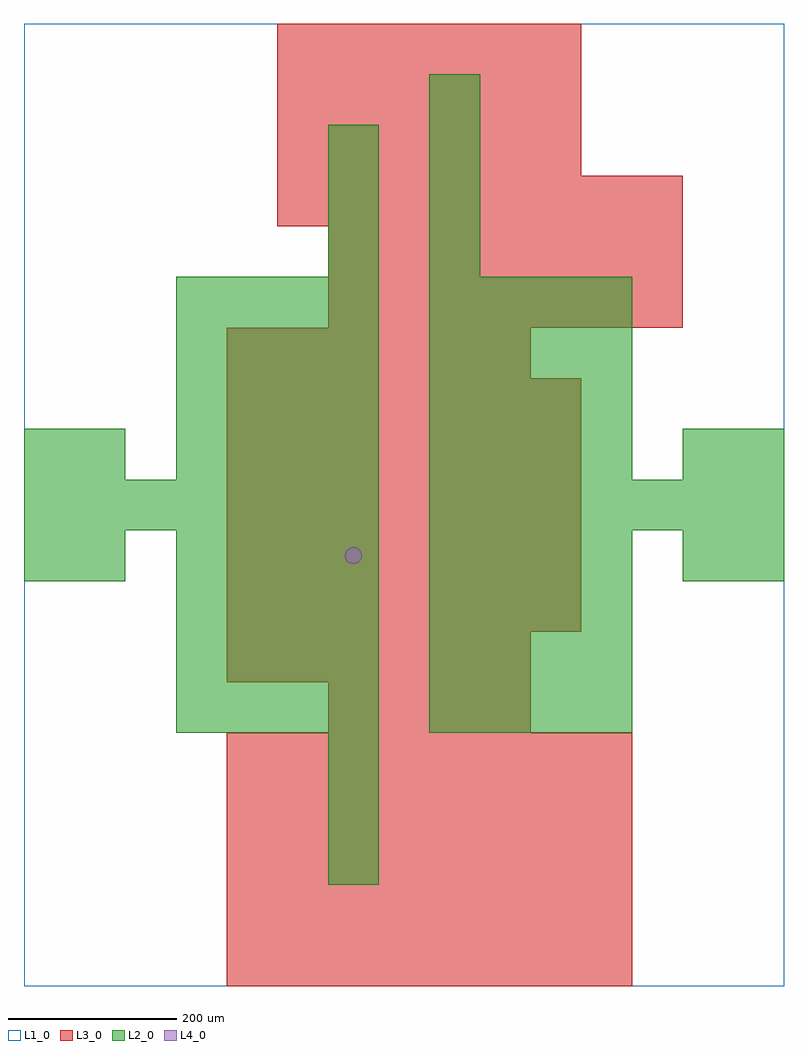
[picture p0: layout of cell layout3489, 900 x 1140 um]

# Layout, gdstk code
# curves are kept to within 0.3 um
import gdstk
lib = gdstk.Library(unit=1e-6, precision=1e-09)
def R(c, l, rs):  # rectangles x0, y0, x1, y1
    for r in rs: c.add(gdstk.rectangle(r[:2], r[2:], *l))
def A(c, l, x, y, w, h, nx, ny, dx, dy):  # array of equal rectangles
    R(c, l, [(x+i*dx, y+j*dy, x+i*dx+w, y+j*dy+h) for i in range(nx) for j in range(ny)])
def P(c, l, *ps):  # polygons
    for p in ps: c.add(gdstk.Polygon(p, *l))
L1_0 = (1, 0)
L2_0 = (2, 0)
L3_0 = (3, 0)
L4_0 = (4, 0)

layout3489 = lib.new_cell('layout3489')
R(layout3489, L1_0, [(0,0,900,1140)])
A(layout3489, L2_0, 360, 120, 60, 60, 1, 3, 0, 60)
A(layout3489, L2_0, 180, 300, 60, 60, 4, 4, 60, 60)
A(layout3489, L2_0, 480, 300, 60, 60, 4, 4, 60, 60)
A(layout3489, L2_0, 0, 540, 60, 60, 7, 1, 60, 0)
A(layout3489, L2_0, 480, 540, 60, 60, 7, 1, 60, 0)
A(layout3489, L2_0, 180, 600, 60, 60, 4, 4, 60, 60)
A(layout3489, L2_0, 480, 600, 60, 60, 4, 4, 60, 60)
A(layout3489, L2_0, 360, 840, 60, 60, 1, 3, 0, 60)
A(layout3489, L2_0, 480, 840, 60, 60, 1, 4, 0, 60)
R(layout3489, L2_0, [(0,480,60,540), (60,480,120,540), (780,480,840,540), (840,480,900,540), (0,600,60,660), (60,600,120,660), (780,600,840,660), (840,600,900,660)])
A(layout3489, L3_0, 240, 0, 60, 60, 8, 5, 60, 60)
A(layout3489, L3_0, 360, 300, 60, 60, 4, 1, 60, 0)
A(layout3489, L3_0, 240, 360, 60, 60, 6, 2, 60, 360)
A(layout3489, L3_0, 240, 420, 60, 60, 7, 5, 60, 60)
A(layout3489, L3_0, 360, 780, 60, 60, 7, 2, 60, 60)
A(layout3489, L3_0, 300, 900, 60, 60, 8, 1, 60, 0)
A(layout3489, L3_0, 300, 960, 60, 60, 6, 3, 60, 60)
P(layout3489, L4_0, [(400,510),(399.239,513.827),(397.071,517.071),(393.827,519.239),(390,520),(386.173,519.239),(382.929,517.071),(380.761,513.827),(380,510),(380.761,506.173),(382.929,502.929),(386.173,500.761),(390,500),(393.827,500.761),(397.071,502.929),(399.239,506.173)])

lib.write_gds('layout3489.gds')
